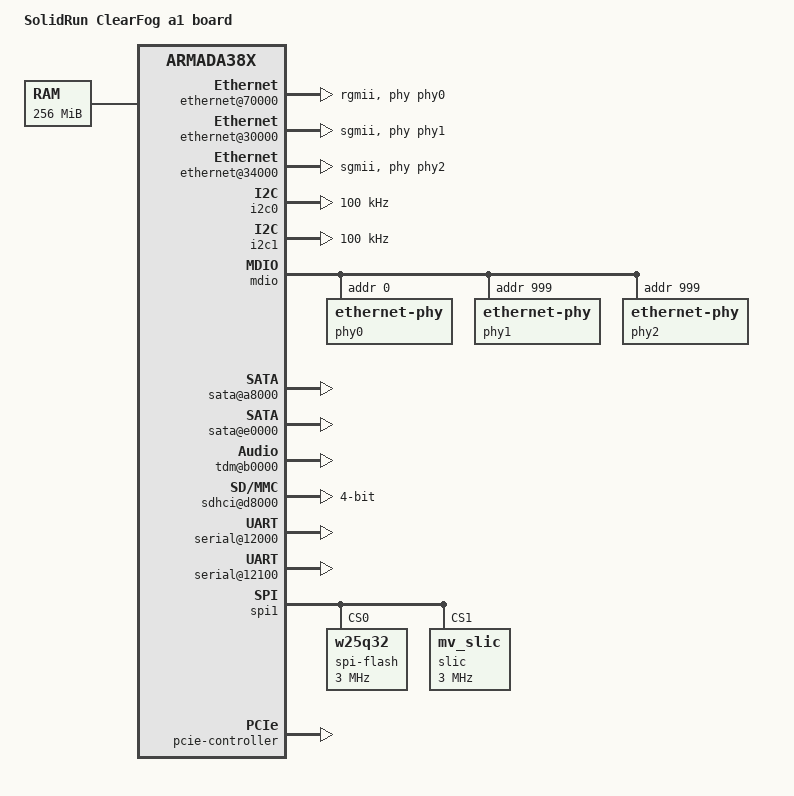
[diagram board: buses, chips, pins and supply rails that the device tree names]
/*
* Device Tree file for SolidRun's ClearFog-a1 board
*
* Rabeeh Khoury <rabeeh@solid-run.com
*
* This file is licensed under the terms of the GNU General Public
* License version 2.  This program is licensed "as is" without any
* warranty of any kind, whether express or implied.
*/

/dts-v1/;
#include <dt-bindings/gpio/gpio.h>
#include "armada-385-388.dtsi"

/ {
	model = "SolidRun ClearFog a1 board";
	compatible = "marvell,a388-db-gp", "marvell,armada388", "marvell,armada38x";

	chosen {
		bootargs = "console=ttyS0,115200 earlyprintk";
	};

	memory {
		device_type = "memory";
		reg = <0x00000000 0x10000000>; /* 256 MB */
	};

	soc {
		internal-regs {
			ethernet@70000 {
				status = "okay";
				phy = <&phy0>;
				phy-mode = "rgmii";
			};

			ethernet@30000 {
				status = "okay";
				phy = <&phy1>;
				phy-mode = "sgmii";
			};

			ethernet@34000 {
				status = "okay";
				phy = <&phy2>;
				phy-mode = "sgmii";
			};

			i2c0: i2c@11000 {
				status = "okay";
				clock-frequency = <100000>;
			};

			i2c1: i2c@11100 {
				status = "okay";
				clock-frequency = <100000>;
			};

			mdio {
				phy0: ethernet-phy@0 {
					reg = <0>;
				};
				phy1: ethernet-phy@1 {
					reg = <999>;
				};
				phy2: ethernet-phy@2 {
					reg = <999>;
				};
			};

			sata@a8000 {
				status = "okay";
			};

			sata@e0000 {
				status = "okay";
			};

			tdm@b0000 {
				pinctrl-0 = <&tdm_pins>;
				pinctrl-names = "default";
				pclk-freq-mhz = <8>;
				status = "okay";
			};

			sdhci@d8000 {
				broken-cd;
				wp-inverted;
				bus-width = <4>;
				status = "okay";
				no-1-8-v;
			};

			serial@12000 {
				status = "okay";
			};

			serial@12100 {
				status = "okay";
			};

			spi1: spi@10680 {
				pinctrl-0 = <&spi1_pins>;
				pinctrl-names = "default";
				status = "okay";

				spi-flash@0 {
					#address-cells = <1>;
					#size-cells = <0>;
					compatible = "w25q32";
					reg = <0>; /* Chip select 0 */
					spi-max-frequency = <3000000>;
				};
				slic@0 {
					#address-cells = <1>;
					#size-cells = <0>;
					compatible = "mv_slic";
					reg = <1>; /* Chip select 1 */
					spi-max-frequency = <3000000>;
					spi-1byte-cs;
					spi-cpol;
					spi-cpha;
				};
			};

			crypto@9D000 {
				status = "okay";
			};
		};

		pcie-controller {
			status = "okay";
			/*
				* The two PCIe units are accessible through
				* standard PCIe slots on the board.
				*/
			pcie@2,0 {
				/* Port 1, Lane 0 */
				status = "okay";
			};
			pcie@3,0 {
				/* Port 2, Lane 0 */
				status = "okay";
			};
		};
	};
};
